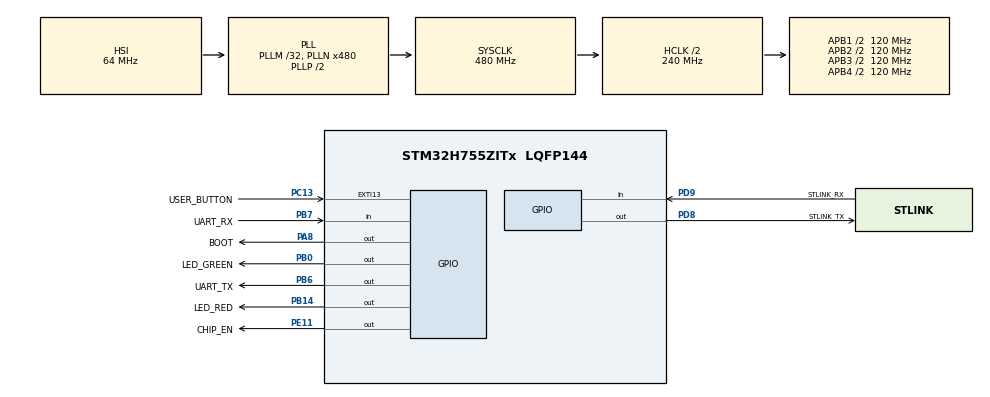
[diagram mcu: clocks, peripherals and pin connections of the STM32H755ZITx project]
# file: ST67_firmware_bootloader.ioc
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CORTEX_M7.default_mode_Activation=1
CortexM4.IPs=BDMA,CORTEX_M4\:I,DMA,FATFS_M4\:I,FREERTOS_M4\:I,GPIO,IWDG2\:I,MDMA,NVIC2\:I,OPENAMP_M4\:I,PDM2PCM_M4\:I,PWR,RCC,RESMGR_UTILITY,SYS_M4\:I,USB_DEVICE_M4\:I,USB_HOST_M4\:I,VREFBUF,WWDG2\:I
CortexM7.IPs=BDMA\:I,CORTEX_M7\:I,DMA\:I,FATFS_M7\:I,FREERTOS_M7\:I,GPIO\:I,IWDG1\:I,MDMA\:I,NVIC1\:I,OPENAMP_M7\:I,PDM2PCM_M7\:I,PWR\:I,RCC\:I,RESMGR_UTILITY\:I,SYS\:I,USB_DEVICE_M7\:I,USB_HOST_M7\:I,VREFBUF\:I,WWDG1\:I,MEMORYMAP\:I
CortexM7.Pins=PC13,PB0,PE11,PB14,PD8,PD9,PA8,PB6,PB7
Mcu.Family=STM32H7
Mcu.Name=STM32H755ZITx
Mcu.Package=LQFP144
NVIC1.PriorityGroup=NVIC_PRIORITYGROUP_4
NVIC2.PriorityGroup=NVIC_PRIORITYGROUP_4
PA8.GPIO_Label=BOOT
PA8.PinAttribute=CortexM7
PA8.Signal=GPIO_Output
PB0.GPIO_Label=LED_GREEN
PB0.PinAttribute=CortexM7
PB0.Signal=GPIO_Output
PB14.GPIO_Label=LED_RED
PB14.PinAttribute=CortexM7
PB14.Signal=GPIO_Output
PB6.GPIO_Label=UART_TX
PB6.GPIO_Speed=GPIO_SPEED_FREQ_HIGH
PB6.PinAttribute=CortexM7
PB6.PinState=GPIO_PIN_SET
PB6.Signal=GPIO_Output
PB7.GPIO_Label=UART_RX
PB7.PinAttribute=CortexM7
PB7.Signal=GPIO_Input
PC13.GPIO_Label=USER_BUTTON
PC13.PinAttribute=CortexM7
PC13.Signal=GPXTI13
PD8.GPIO_Label=STLINK_TX
PD8.GPIO_Speed=GPIO_SPEED_FREQ_HIGH
PD8.PinAttribute=CortexM7
PD8.Signal=GPIO_Output
PD9.GPIO_Label=STLINK_RX
PD9.PinAttribute=CortexM7
PD9.Signal=GPIO_Input
PE11.GPIO_Label=CHIP_EN
PE11.GPIO_Speed=GPIO_SPEED_FREQ_HIGH
PE11.PinAttribute=CortexM7
PE11.Signal=GPIO_Output
ProjectManager.HeapSize=M4-0x200,M7-0x200
ProjectManager.StackSize=M4-0x400,M7-0x400
ProjectManager.TargetToolchain=STM32CubeIDE
RCC.ADCFreq_Value=129000000
RCC.APB1Freq_Value=120000000
RCC.APB2Freq_Value=120000000
RCC.APB3Freq_Value=120000000
RCC.APB4Freq_Value=120000000
RCC.CortexFreq_Value=480000000
RCC.D1PPRE=RCC_APB3_DIV2
RCC.D2PPRE1=RCC_APB1_DIV2
RCC.D2PPRE2=RCC_APB2_DIV2
RCC.D3PPRE=RCC_APB4_DIV2
RCC.DIVN1=480
RCC.HCLKFreq_Value=240000000
RCC.HPRE=RCC_HCLK_DIV2
RCC.PLL2FRACN=0
RCC.PLL3FRACN=0
RCC.PLLFRACN=0
RCC.SYSCLKFreq_VALUE=480000000
RCC.SYSCLKSource=RCC_SYSCLKSOURCE_PLLCLK
RCC.USBFreq_Value=480000000
SYS.userName=SYS_M7
VP_MEMORYMAP_VS_MEMORYMAP.Mode=CurAppReg
VP_SYS_M4_VS_Systick.Mode=SysTick
board=custom

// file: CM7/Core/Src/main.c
/* USER CODE BEGIN Header */
/**
  ******************************************************************************
  * @file           : main.c
  * @brief          : Main program body
  ******************************************************************************
  * @attention
  *
  * Copyright (c) 2025 STMicroelectronics.
  * All rights reserved.
  *
  * This software is licensed under terms that can be found in the LICENSE file
  * in the root directory of this software component.
  * If no LICENSE file comes with this software, it is provided AS-IS.
  *
  ******************************************************************************
  */
/* USER CODE END Header */
#include "main.h"

/* USER CODE BEGIN PD */
#ifdef NCP_FLASH_MODE
static uint32_t ncp_flash_mode = 1;
#else
static uint32_t ncp_flash_mode = 0;
#endif /* NCP_FLASH_MODE */

/* DUAL_CORE_BOOT_SYNC_SEQUENCE: Define for dual core boot synchronization    */
/*                             demonstration code based on hardware semaphore */
/* This define is present in both CM7/CM4 projects                            */
/* To comment when developping/debugging on a single core                     */
//#define DUAL_CORE_BOOT_SYNC_SEQUENCE

#if defined(DUAL_CORE_BOOT_SYNC_SEQUENCE)
#ifndef HSEM_ID_0
#define HSEM_ID_0 (0U) /* HW semaphore 0*/
#endif
#endif /* DUAL_CORE_BOOT_SYNC_SEQUENCE */

/* USER CODE END PD */

void SystemClock_Config(void);
static void MPU_Config(void);
static void MX_GPIO_Init(void);

/* USER CODE BEGIN 0 */
volatile uint32_t pushbutton = 0;

void HAL_GPIO_EXTI_Callback(uint16_t GPIO_Pin)
{
  pushbutton = 1;
}

static void uart_pass_through(void)
{
  pushbutton = 0;
  uint32_t backup_sysctrl;

  /* disable systick */
  backup_sysctrl = SysTick->CTRL;
  SysTick->CTRL = 0;

  while (1)
  {
    /* Bit copy */
    /* USART_RX => STLINK_TX */
    if ((UART_RX_GPIO_Port->IDR) & ((uint32_t)UART_RX_Pin))
    {
      STLINK_TX_GPIO_Port->BSRR = (uint32_t)STLINK_TX_Pin; /* set */
    }
    else
    {
      STLINK_TX_GPIO_Port->BSRR = (uint32_t)(STLINK_TX_Pin << 16); /* reset */
    }
    /* STLINK_RX => USART_TX */
    if ((STLINK_RX_GPIO_Port->IDR) & ((uint32_t)STLINK_RX_Pin))
    {
      UART_TX_GPIO_Port->BSRR = (uint32_t)UART_TX_Pin; /* set */
    }
    else
    {
      UART_TX_GPIO_Port->BSRR = (uint32_t)(UART_TX_Pin << 16); /* reset */
    }
    if (pushbutton)
    {
      break;
    }
  }

  /* enable systick */
  SysTick->CTRL = backup_sysctrl;
}

static void uart_bypass(uint32_t flash)
{

  HAL_GPIO_WritePin(LED_RED_GPIO_Port, LED_RED_Pin, GPIO_PIN_RESET);
  HAL_GPIO_WritePin(LED_GREEN_GPIO_Port, LED_GREEN_Pin, GPIO_PIN_RESET);

  for (int32_t i = 0 ; i < 3; i++)
  {
    if (flash)
    {
      HAL_GPIO_WritePin(LED_RED_GPIO_Port, LED_RED_Pin, GPIO_PIN_RESET);
    }
    else
    {
      HAL_GPIO_WritePin(LED_GREEN_GPIO_Port, LED_GREEN_Pin, GPIO_PIN_RESET);
    }
    HAL_Delay(100);
    if (flash)
    {
      HAL_GPIO_WritePin(LED_RED_GPIO_Port, LED_RED_Pin, GPIO_PIN_SET);
    }
    else
    {
      HAL_GPIO_WritePin(LED_GREEN_GPIO_Port, LED_GREEN_Pin, GPIO_PIN_SET);
    }
    HAL_Delay(100);
  }

  if (flash)
  {
    HAL_GPIO_WritePin(BOOT_GPIO_Port, BOOT_Pin, GPIO_PIN_SET);
  }
  else
  {
    HAL_GPIO_WritePin(BOOT_GPIO_Port, BOOT_Pin, GPIO_PIN_RESET);
  }

  /* RESET NCP CHIP */
  HAL_GPIO_WritePin(CHIP_EN_GPIO_Port, CHIP_EN_Pin, GPIO_PIN_RESET);
  HAL_Delay(100);
  HAL_GPIO_WritePin(CHIP_EN_GPIO_Port, CHIP_EN_Pin, GPIO_PIN_SET);

  if (flash)
  {
    /* CLEAR BOOT */
    HAL_Delay(100);
    HAL_GPIO_WritePin(BOOT_GPIO_Port, BOOT_Pin, GPIO_PIN_RESET);
  }
  uart_pass_through();
}

/* USER CODE END 0 */

int main(void)
{

/* USER CODE BEGIN Boot_Mode_Sequence_0 */
#if defined(DUAL_CORE_BOOT_SYNC_SEQUENCE)
  int32_t timeout;
#endif /* DUAL_CORE_BOOT_SYNC_SEQUENCE */
/* USER CODE END Boot_Mode_Sequence_0 */

  /* MPU Configuration--------------------------------------------------------*/
  MPU_Config();

/* USER CODE BEGIN Boot_Mode_Sequence_1 */
#if defined(DUAL_CORE_BOOT_SYNC_SEQUENCE)
  /* Wait until CPU2 boots and enters in stop mode or timeout*/
  timeout = 0xFFFF;
  while((__HAL_RCC_GET_FLAG(RCC_FLAG_D2CKRDY) != RESET) && (timeout-- > 0));
  if ( timeout < 0 )
  {
  Error_Handler();
  }
#endif /* DUAL_CORE_BOOT_SYNC_SEQUENCE */
/* USER CODE END Boot_Mode_Sequence_1 */
  /* MCU Configuration--------------------------------------------------------*/

  /* Reset of all peripherals, Initializes the Flash interface and the Systick. */
  HAL_Init();

  /* Configure the system clock */
  SystemClock_Config();
/* USER CODE BEGIN Boot_Mode_Sequence_2 */
#if defined(DUAL_CORE_BOOT_SYNC_SEQUENCE)
/* When system initialization is finished, Cortex-M7 will release Cortex-M4 by means of
HSEM notification */
/*HW semaphore Clock enable*/
__HAL_RCC_HSEM_CLK_ENABLE();
/*Take HSEM */
HAL_HSEM_FastTake(HSEM_ID_0);
/*Release HSEM in order to notify the CPU2(CM4)*/
HAL_HSEM_Release(HSEM_ID_0,0);
/* wait until CPU2 wakes up from stop mode */
timeout = 0xFFFF;
while((__HAL_RCC_GET_FLAG(RCC_FLAG_D2CKRDY) == RESET) && (timeout-- > 0));
if ( timeout < 0 )
{
Error_Handler();
}
#endif /* DUAL_CORE_BOOT_SYNC_SEQUENCE */
/* USER CODE END Boot_Mode_Sequence_2 */

  /* Initialize all configured peripherals */
  MX_GPIO_Init();

  /* Infinite loop */
  /* USER CODE BEGIN WHILE */
  while (1)
  {
  /* Flash Bypass => Red led */
	 uart_bypass(ncp_flash_mode);
	 /* return when blue button is pushed */
	 /* Bypass => Green led */
	 uart_bypass(1 - ncp_flash_mode);
    /* USER CODE END WHILE */

  }
}

void SystemClock_Config(void)
{
  RCC_OscInitTypeDef RCC_OscInitStruct = {0};
  RCC_ClkInitTypeDef RCC_ClkInitStruct = {0};

  /** Supply configuration update enable
  */
  HAL_PWREx_ConfigSupply(PWR_LDO_SUPPLY);

  /** Configure the main internal regulator output voltage
  */
  __HAL_PWR_VOLTAGESCALING_CONFIG(PWR_REGULATOR_VOLTAGE_SCALE0);

  while(!__HAL_PWR_GET_FLAG(PWR_FLAG_VOSRDY)) {}

  /** Initializes the RCC Oscillators according to the specified parameters
  * in the RCC_OscInitTypeDef structure.
  */
  RCC_OscInitStruct.OscillatorType = RCC_OSCILLATORTYPE_HSI;
  RCC_OscInitStruct.HSIState = RCC_HSI_DIV1;
  RCC_OscInitStruct.HSICalibrationValue = RCC_HSICALIBRATION_DEFAULT;
  RCC_OscInitStruct.PLL.PLLState = RCC_PLL_ON;
  RCC_OscInitStruct.PLL.PLLSource = RCC_PLLSOURCE_HSI;
  RCC_OscInitStruct.PLL.PLLM = 32;
  RCC_OscInitStruct.PLL.PLLN = 480;
  RCC_OscInitStruct.PLL.PLLP = 2;
  RCC_OscInitStruct.PLL.PLLQ = 2;
  RCC_OscInitStruct.PLL.PLLR = 2;
  RCC_OscInitStruct.PLL.PLLRGE = RCC_PLL1VCIRANGE_1;
  RCC_OscInitStruct.PLL.PLLVCOSEL = RCC_PLL1VCOWIDE;
  RCC_OscInitStruct.PLL.PLLFRACN = 0;
  if (HAL_RCC_OscConfig(&RCC_OscInitStruct) != HAL_OK)
  {
    Error_Handler();
  }

  /** Initializes the CPU, AHB and APB buses clocks
  */
  RCC_ClkInitStruct.ClockType = RCC_CLOCKTYPE_HCLK|RCC_CLOCKTYPE_SYSCLK
                              |RCC_CLOCKTYPE_PCLK1|RCC_CLOCKTYPE_PCLK2
                              |RCC_CLOCKTYPE_D3PCLK1|RCC_CLOCKTYPE_D1PCLK1;
  RCC_ClkInitStruct.SYSCLKSource = RCC_SYSCLKSOURCE_PLLCLK;
  RCC_ClkInitStruct.SYSCLKDivider = RCC_SYSCLK_DIV1;
  RCC_ClkInitStruct.AHBCLKDivider = RCC_HCLK_DIV2;
  RCC_ClkInitStruct.APB3CLKDivider = RCC_APB3_DIV2;
  RCC_ClkInitStruct.APB1CLKDivider = RCC_APB1_DIV2;
  RCC_ClkInitStruct.APB2CLKDivider = RCC_APB2_DIV2;
  RCC_ClkInitStruct.APB4CLKDivider = RCC_APB4_DIV2;

  if (HAL_RCC_ClockConfig(&RCC_ClkInitStruct, FLASH_LATENCY_4) != HAL_OK)
  {
    Error_Handler();
  }
}

static void MX_GPIO_Init(void)
{
  GPIO_InitTypeDef GPIO_InitStruct = {0};

  /* GPIO Ports Clock Enable */
  __HAL_RCC_GPIOC_CLK_ENABLE();
  __HAL_RCC_GPIOB_CLK_ENABLE();
  __HAL_RCC_GPIOE_CLK_ENABLE();
  __HAL_RCC_GPIOD_CLK_ENABLE();
  __HAL_RCC_GPIOA_CLK_ENABLE();

  /*Configure GPIO pin Output Level */
  HAL_GPIO_WritePin(GPIOB, LED_GREEN_Pin|LED_RED_Pin, GPIO_PIN_RESET);

  /*Configure GPIO pin Output Level */
  HAL_GPIO_WritePin(CHIP_EN_GPIO_Port, CHIP_EN_Pin, GPIO_PIN_RESET);

  /*Configure GPIO pin Output Level */
  HAL_GPIO_WritePin(STLINK_TX_GPIO_Port, STLINK_TX_Pin, GPIO_PIN_RESET);

  /*Configure GPIO pin Output Level */
  HAL_GPIO_WritePin(BOOT_GPIO_Port, BOOT_Pin, GPIO_PIN_RESET);

  /*Configure GPIO pin Output Level */
  HAL_GPIO_WritePin(UART_TX_GPIO_Port, UART_TX_Pin, GPIO_PIN_SET);

  /*Configure GPIO pin : USER_BUTTON_Pin */
  GPIO_InitStruct.Pin = USER_BUTTON_Pin;
  GPIO_InitStruct.Mode = GPIO_MODE_IT_RISING;
  GPIO_InitStruct.Pull = GPIO_NOPULL;
  HAL_GPIO_Init(USER_BUTTON_GPIO_Port, &GPIO_InitStruct);

  /*Configure GPIO pins : LED_GREEN_Pin LED_RED_Pin */
  GPIO_InitStruct.Pin = LED_GREEN_Pin|LED_RED_Pin;
  GPIO_InitStruct.Mode = GPIO_MODE_OUTPUT_PP;
  GPIO_InitStruct.Pull = GPIO_NOPULL;
  GPIO_InitStruct.Speed = GPIO_SPEED_FREQ_LOW;
  HAL_GPIO_Init(GPIOB, &GPIO_InitStruct);

  /*Configure GPIO pin : CHIP_EN_Pin */
  GPIO_InitStruct.Pin = CHIP_EN_Pin;
  GPIO_InitStruct.Mode = GPIO_MODE_OUTPUT_PP;
  GPIO_InitStruct.Pull = GPIO_NOPULL;
  GPIO_InitStruct.Speed = GPIO_SPEED_FREQ_HIGH;
  HAL_GPIO_Init(CHIP_EN_GPIO_Port, &GPIO_InitStruct);

  /*Configure GPIO pin : STLINK_TX_Pin */
  GPIO_InitStruct.Pin = STLINK_TX_Pin;
  GPIO_InitStruct.Mode = GPIO_MODE_OUTPUT_PP;
  GPIO_InitStruct.Pull = GPIO_NOPULL;
  GPIO_InitStruct.Speed = GPIO_SPEED_FREQ_HIGH;
  HAL_GPIO_Init(STLINK_TX_GPIO_Port, &GPIO_InitStruct);

  /*Configure GPIO pin : STLINK_RX_Pin */
  GPIO_InitStruct.Pin = STLINK_RX_Pin;
  GPIO_InitStruct.Mode = GPIO_MODE_INPUT;
  GPIO_InitStruct.Pull = GPIO_NOPULL;
  HAL_GPIO_Init(STLINK_RX_GPIO_Port, &GPIO_InitStruct);

  /*Configure GPIO pin : BOOT_Pin */
  GPIO_InitStruct.Pin = BOOT_Pin;
  GPIO_InitStruct.Mode = GPIO_MODE_OUTPUT_PP;
  GPIO_InitStruct.Pull = GPIO_NOPULL;
  GPIO_InitStruct.Speed = GPIO_SPEED_FREQ_LOW;
  HAL_GPIO_Init(BOOT_GPIO_Port, &GPIO_InitStruct);

  /*Configure GPIO pin : UART_TX_Pin */
  GPIO_InitStruct.Pin = UART_TX_Pin;
  GPIO_InitStruct.Mode = GPIO_MODE_OUTPUT_PP;
  GPIO_InitStruct.Pull = GPIO_NOPULL;
  GPIO_InitStruct.Speed = GPIO_SPEED_FREQ_HIGH;
  HAL_GPIO_Init(UART_TX_GPIO_Port, &GPIO_InitStruct);

  /*Configure GPIO pin : UART_RX_Pin */
  GPIO_InitStruct.Pin = UART_RX_Pin;
  GPIO_InitStruct.Mode = GPIO_MODE_INPUT;
  GPIO_InitStruct.Pull = GPIO_NOPULL;
  HAL_GPIO_Init(UART_RX_GPIO_Port, &GPIO_InitStruct);

}

 /* MPU Configuration */

void MPU_Config(void)
{
  MPU_Region_InitTypeDef MPU_InitStruct = {0};

  /* Disables the MPU */
  HAL_MPU_Disable();

  /** Initializes and configures the Region and the memory to be protected
  */
  MPU_InitStruct.Enable = MPU_REGION_ENABLE;
  MPU_InitStruct.Number = MPU_REGION_NUMBER0;
  MPU_InitStruct.BaseAddress = 0x0;
  MPU_InitStruct.Size = MPU_REGION_SIZE_4GB;
  MPU_InitStruct.SubRegionDisable = 0x87;
  MPU_InitStruct.TypeExtField = MPU_TEX_LEVEL0;
  MPU_InitStruct.AccessPermission = MPU_REGION_NO_ACCESS;
  MPU_InitStruct.DisableExec = MPU_INSTRUCTION_ACCESS_DISABLE;
  MPU_InitStruct.IsShareable = MPU_ACCESS_SHAREABLE;
  MPU_InitStruct.IsCacheable = MPU_ACCESS_NOT_CACHEABLE;
  MPU_InitStruct.IsBufferable = MPU_ACCESS_NOT_BUFFERABLE;

  HAL_MPU_ConfigRegion(&MPU_InitStruct);
  /* Enables the MPU */
  HAL_MPU_Enable(MPU_PRIVILEGED_DEFAULT);

}

void Error_Handler(void)
{
  __disable_irq();
  while (1)
  {
  }
}
